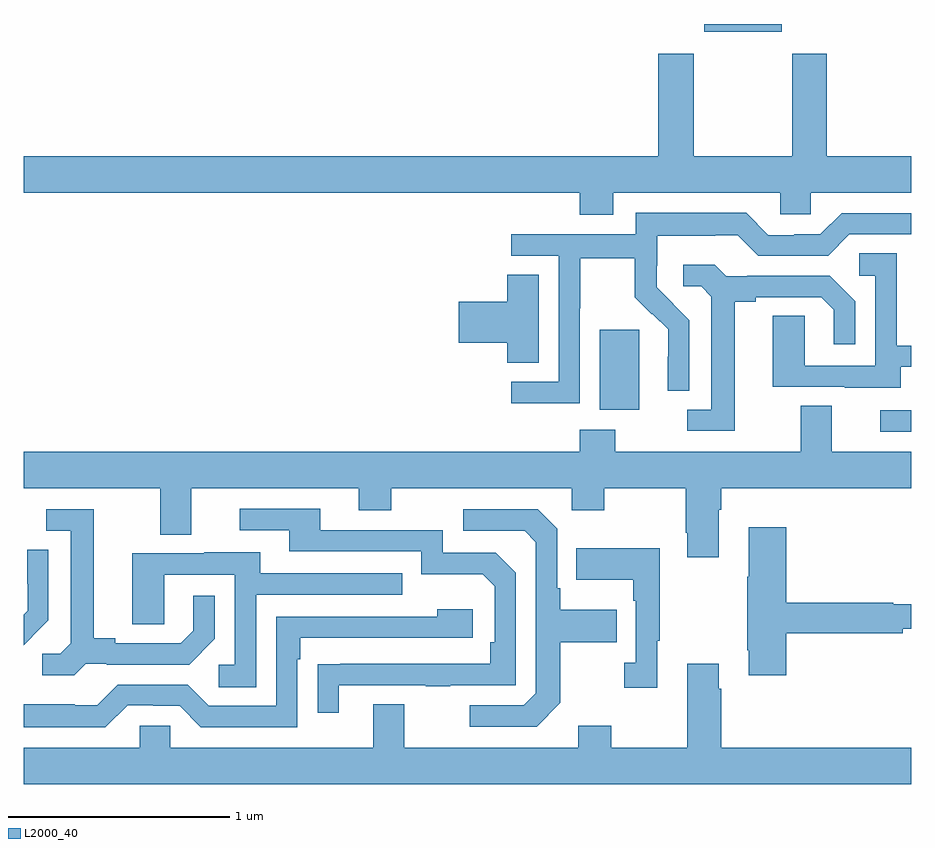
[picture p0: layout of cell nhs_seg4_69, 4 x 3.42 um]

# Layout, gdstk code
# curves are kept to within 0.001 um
import gdstk
lib = gdstk.Library(unit=1e-6, precision=1e-09)
def R(c, l, rs):  # rectangles x0, y0, x1, y1
    for r in rs: c.add(gdstk.rectangle(r[:2], r[2:], *l))
def P(c, l, *ps):  # polygons
    for p in ps: c.add(gdstk.Polygon(p, *l))
L2000_40 = (2000, 40)

nhs_seg4_69 = lib.new_cell('nhs_seg4_69')
R(nhs_seg4_69, L2000_40, [(116.859,809.064,117,809.16), (115.595,809.162,115.774,809.523), (116.066,810.866,116.416,810.9)])
P(nhs_seg4_69, L2000_40, [(115.657,810.14),(116.409,810.14),(116.409,810.042),(116.547,810.042),(116.547,810.14),(117,810.14),(117,810.304),(116.619,810.304),(116.619,810.766),(116.464,810.766),(116.464,810.304),(116.019,810.304),(116.019,810.766),(115.859,810.766),(115.859,810.304),(113,810.304),(113,810.14),(115.505,810.14),(115.505,810.041),(115.657,810.041)],
  [(115.506,809.62),(115.509,809.62),(115.509,809.844),(115.753,809.844),(115.753,809.669),(115.83,809.592),(115.833,809.595),(115.904,809.525),(115.904,809.402),(115.902,809.402),(115.902,809.248),(115.998,809.248),(115.998,809.566),(115.852,809.714),(115.852,809.811),(115.854,809.811),(115.854,809.945),(116.117,809.945),(116.117,809.949),(116.217,809.949),(116.31,809.856),(116.625,809.856),(116.721,809.952),(117,809.952),(117,810.048),(116.685,810.048),(116.589,809.952),(116.471,809.952),(116.471,809.949),(116.355,809.949),(116.255,810.049),(115.758,810.049),(115.758,809.952),(115.197,809.952),(115.197,809.856),(115.41,809.856),(115.41,809.289),(115.197,809.289),(115.197,809.191),(115.506,809.191)],
  [(116.953,809.355),(117,809.355),(117,809.451),(116.934,809.451),(116.934,809.867),(116.766,809.867),(116.766,809.766),(116.838,809.766),(116.838,809.361),(116.52,809.361),(116.52,809.585),(116.375,809.585),(116.375,809.265),(116.699,809.265),(116.699,809.261),(116.953,809.261)],
  [(116.203,809.648),(116.299,809.648),(116.299,809.67),(116.594,809.67),(116.651,809.613),(116.651,809.457),(116.748,809.457),(116.748,809.65),(116.632,809.766),(116.26,809.766),(116.26,809.763),(116.166,809.763),(116.114,809.815),(115.971,809.815),(115.971,809.718),(116.052,809.718),(116.099,809.671),(116.099,809.163),(115.989,809.163),(115.989,809.067),(116.203,809.067)],
  [(115.321,809.771),(115.178,809.771),(115.178,809.648),(114.96,809.648),(114.96,809.465),(115.178,809.465),(115.178,809.374),(115.321,809.374)],
  [(116.131,808.712),(116.144,808.712),(116.144,808.808),(117,808.808),(117,808.972),(116.641,808.972),(116.641,809.18),(116.501,809.18),(116.501,808.972),(115.665,808.972),(115.665,809.071),(115.505,809.071),(115.505,808.972),(113,808.972),(113,808.808),(113.615,808.808),(113.615,808.6),(113.755,808.6),(113.755,808.808),(114.509,808.808),(114.509,808.709),(114.657,808.709),(114.657,808.808),(115.47,808.808),(115.47,808.709),(115.617,808.709),(115.617,808.808),(115.984,808.808),(115.984,808.609),(115.991,808.609),(115.991,808.497),(116.131,808.497)],
  [(114.421,807.921),(114.811,807.921),(114.811,807.916),(114.923,807.916),(114.923,807.921),(115.218,807.921),(115.218,808.428),(115.128,808.518),(114.888,808.518),(114.888,808.62),(114.337,808.62),(114.337,808.716),(113.973,808.716),(113.973,808.62),(114.197,808.62),(114.197,808.524),(114.792,808.524),(114.792,808.421),(115.069,808.421),(115.122,808.368),(115.122,808.114),(115.102,808.114),(115.102,808.017),(114.325,808.016),(114.325,807.798),(114.421,807.798)],
  [(115.417,807.841),(115.417,808.114),(115.673,808.114),(115.673,808.261),(115.417,808.261),(115.417,808.357),(115.404,808.357),(115.404,808.626),(115.317,808.713),(114.981,808.713),(114.981,808.617),(115.257,808.617),(115.308,808.566),(115.308,807.885),(115.254,807.831),(115.011,807.831),(115.011,807.735),(115.311,807.735)],
  [(113.28,808.017),(113.374,808.017),(113.374,808.014),(113.746,808.014),(113.862,808.13),(113.862,808.324),(113.765,808.324),(113.765,808.167),(113.708,808.11),(113.413,808.11),(113.413,808.133),(113.317,808.133),(113.317,808.713),(113.103,808.713),(113.103,808.617),(113.213,808.617),(113.213,808.109),(113.166,808.062),(113.085,808.062),(113.085,807.965),(113.228,807.965)],
  [(116.435,808.156),(116.96,808.156),(116.96,808.175),(117,808.175),(117,808.285),(116.918,808.285),(116.918,808.292),(116.435,808.292),(116.435,808.633),(116.267,808.633),(116.267,808.409),(116.26,808.409),(116.26,808.078),(116.267,808.078),(116.267,807.966),(116.435,807.966)],
  [(115.855,808.121),(115.867,808.121),(115.867,808.537),(115.489,808.537),(115.489,808.397),(115.746,808.397),(115.746,808.301),(115.758,808.301),(115.758,808.022),(115.707,808.022),(115.707,807.909),(115.855,807.909)],
  [(113.04,808.14),(113.039,808.141),(113.112,808.214),(113.112,808.532),(113.016,808.532),(113.016,808.378),(113.018,808.378),(113.018,808.256),(113,808.238),(113,808.1)],
  [(114.048,808.329),(114.707,808.329),(114.707,808.425),(114.067,808.425),(114.067,808.519),(113.813,808.519),(113.813,808.515),(113.489,808.515),(113.489,808.195),(113.634,808.195),(113.634,808.419),(113.952,808.419),(113.952,808.014),(113.88,808.014),(113.88,807.913),(114.048,807.913)],
  [(113.469,807.831),(113.585,807.831),(113.585,807.828),(113.703,807.828),(113.799,807.732),(114.234,807.732),(114.234,808.037),(114.247,808.037),(114.247,808.134),(115.024,808.134),(115.024,808.264),(114.863,808.264),(114.863,808.23),(114.138,808.23),(114.138,807.828),(113.835,807.828),(113.739,807.924),(113.424,807.924),(113.331,807.831),(113.231,807.831),(113.231,807.835),(113,807.835),(113,807.731),(113.369,807.731)],
  [(117,807.64),(116.144,807.64),(116.144,807.905),(116.131,807.905),(116.131,808.018),(115.991,808.018),(115.991,807.64),(115.647,807.64),(115.647,807.739),(115.499,807.739),(115.499,807.64),(114.715,807.64),(114.715,807.835),(114.575,807.835),(114.575,807.64),(113.661,807.64),(113.661,807.738),(113.523,807.738),(113.523,807.64),(113,807.64),(113,807.476),(117,807.476)])

lib.write_gds('nhs_seg4_69.gds')
